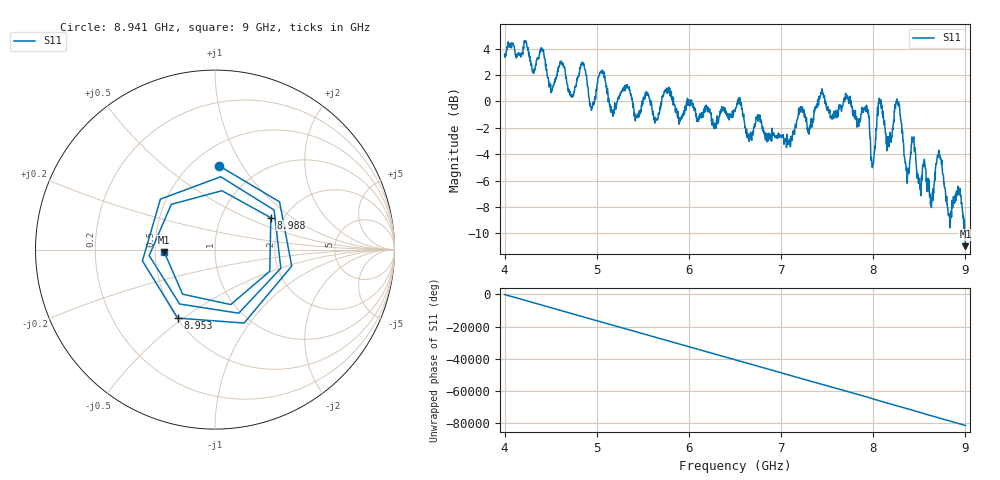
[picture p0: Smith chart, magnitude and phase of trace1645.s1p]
! Created with skrf 1.8.0 (http://scikit-rf.org).
# Hz S RI R 50.0
!freq ReS11 ImS11
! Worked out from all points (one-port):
!   1601 points, 4 GHz to 9 GHz, reference 50 ohm
!   lowest |S11| = -11.0 dB at 9 GHz (marker M1), VSWR 1.79, Z = 28 - j0.91 ohm
!   |S11| at or under -10 dB: 8.994615 GHz to end of sweep
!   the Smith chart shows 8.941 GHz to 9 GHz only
!   S11 on the Smith chart (normalised r, x): 8.941 GHz: 0.66, +0.79; 8.953 GHz: 0.51, -0.48; 8.988 GHz: 1.72, +0.70; 9 GHz: 0.56, -0.02
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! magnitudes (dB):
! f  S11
! 4 GHz  3.5
! 4.403 GHz  4.0
! 4.509 GHz  0.8
! 4.625 GHz  2.8
! 4.731 GHz  0.3
! 4.853 GHz  2.7
! 4.947 GHz  -0.5
! 5.053 GHz  2.2
! 5.162 GHz  -0.8
! 5.25 GHz  0.4
! 5.875 GHz  -1.1
! 6.5 GHz  -0.7
! 7.125 GHz  -2.5
! 7.75 GHz  0.1
! 7.931 GHz  -0.4
! 7.997 GHz  -4.8
! 8.066 GHz  0.2
! 8.166 GHz  -3.1
! 8.259 GHz  0.1
! 8.375 GHz  -5.4
! 8.438 GHz  -2.7
! 8.631 GHz  -8.0
! 8.719 GHz  -4.1
! 8.825 GHz  -8.5
! 8.941 GHz  -6.6
! 8.953 GHz  -7.2
! 8.988 GHz  -8.9
! 9 GHz  -11.0
